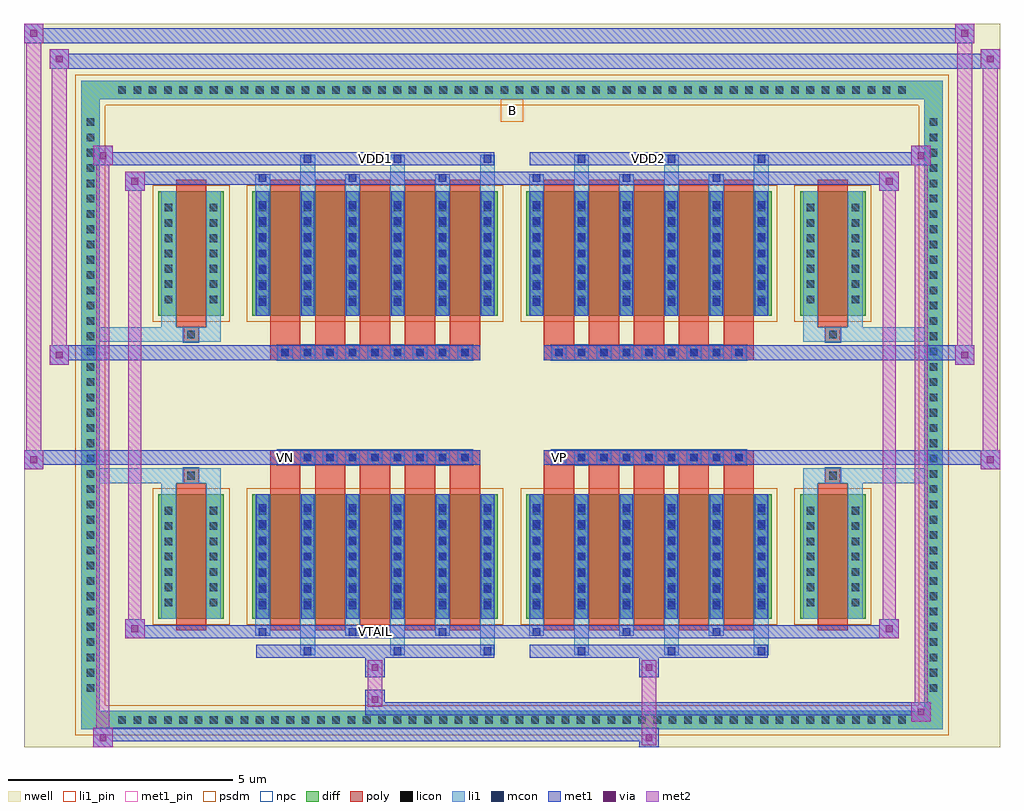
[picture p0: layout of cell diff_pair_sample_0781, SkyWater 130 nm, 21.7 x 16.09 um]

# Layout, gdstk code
import gdstk
lib = gdstk.Library(unit=1e-6, precision=5e-09)
def R(c, l, rs):  # rectangles x0, y0, x1, y1
    for r in rs: c.add(gdstk.rectangle(r[:2], r[2:], *l))
def A(c, l, x, y, w, h, nx, ny, dx, dy):  # array of equal rectangles
    R(c, l, [(x+i*dx, y+j*dy, x+i*dx+w, y+j*dy+h) for i in range(nx) for j in range(ny)])
def P(c, l, *ps):  # polygons
    for p in ps: c.add(gdstk.Polygon(p, *l))
nwell = (64, 20)
diff = (65, 20)
poly = (66, 20)
licon = (66, 44)
li1_pin = (67, 16)
li1 = (67, 20)
mcon = (67, 44)
met1_pin = (68, 16)
met1 = (68, 20)
via = (68, 44)
met2 = (69, 20)
psdm = (94, 20)
npc = (95, 20)

diff_pair_sample_0781 = lib.new_cell('diff_pair_sample_0781')
R(diff_pair_sample_0781, nwell, [(-10.85,-7.61,10.85,8.48), (-8.17,-5.8,-0.01,-0.8), (0.01,-5.8,8.17,-0.8), (-8.17,0.8,-0.01,5.8), (0.01,0.8,8.17,5.8)])
A(diff_pair_sample_0781, diff, -8.875, -7.21, 0.41, 0.41, 52, 2, 0.34, 14.01)
A(diff_pair_sample_0781, diff, -9.58, -6.495, 0.41, 0.41, 1, 38, 0, 0.34)
A(diff_pair_sample_0781, diff, 9.17, -6.495, 0.41, 0.41, 1, 38, 0, 0.34)
R(diff_pair_sample_0781, diff, [(-8.875,-7.21,8.875,-6.8), (-9.58,-6.495,-9.17,6.495), (9.17,-6.495,9.58,6.495), (-7.86,-4.755,-6.41,-1.985), (-5.77,-4.755,-0.32,-1.985), (0.32,-4.755,5.77,-1.985), (6.41,-4.755,7.86,-1.985), (-7.86,1.985,-6.41,4.755), (-5.77,1.985,-0.32,4.755), (0.32,1.985,5.77,4.755), (6.41,1.985,7.86,4.755), (-8.875,6.8,8.875,7.21)])
P(diff_pair_sample_0781, diff, [(9.58,7.21),(-9.58,7.21),(-9.58,-6.8),(-9.17,-6.8),(-9.17,6.8),(9.17,6.8),(9.17,-6.8),(-9.17,-6.8),(-9.58,-6.8),(-9.58,-7.21),(9.58,-7.21)])
A(diff_pair_sample_0781, poly, -5.38, -5.005, 0.67, 3.27, 5, 2, 1, 6.74)
A(diff_pair_sample_0781, poly, 0.71, -5.005, 0.67, 3.27, 5, 2, 1, 6.74)
A(diff_pair_sample_0781, poly, -5.38, -1.735, 0.67, 0.405, 5, 2, 1, 3.065)
A(diff_pair_sample_0781, poly, 0.71, -1.735, 0.67, 0.405, 5, 2, 1, 3.065)
A(diff_pair_sample_0781, poly, -5.21, -1.33, 0.33, 0.33, 9, 2, 0.5, 2.33)
A(diff_pair_sample_0781, poly, 0.88, -1.33, 0.33, 0.33, 9, 2, 0.5, 2.33)
R(diff_pair_sample_0781, poly, [(-7.47,-5.005,-6.8,-1.735), (6.8,-5.005,7.47,-1.735), (-7.3,-1.735,-6.97,-1.405), (-7.3,-1.735,-6.97,-1.405), (6.97,-1.735,7.3,-1.405), (6.97,-1.735,7.3,-1.405), (-5.38,-1.33,-0.71,-1), (0.71,-1.33,5.38,-1), (-5.38,1,-0.71,1.33), (0.71,1,5.38,1.33), (-7.3,1.405,-6.97,1.735), (-7.3,1.405,-6.97,1.735), (6.97,1.405,7.3,1.735), (6.97,1.405,7.3,1.735), (-7.47,1.735,-6.8,5.005), (6.8,1.735,7.47,5.005)])
A(diff_pair_sample_0781, licon, -8.755, -7.09, 0.17, 0.17, 52, 2, 0.34, 14.01)
A(diff_pair_sample_0781, licon, -9.46, -6.375, 0.17, 0.17, 1, 38, 0, 0.34)
A(diff_pair_sample_0781, licon, 9.29, -6.375, 0.17, 0.17, 1, 38, 0, 0.34)
A(diff_pair_sample_0781, licon, -7.72, -4.475, 0.17, 0.17, 1, 7, 0, 0.34)
A(diff_pair_sample_0781, licon, -6.72, -4.475, 0.17, 0.17, 1, 7, 0, 0.34)
A(diff_pair_sample_0781, licon, -5.63, -4.475, 0.17, 0.17, 6, 7, 1, 0.34)
A(diff_pair_sample_0781, licon, 0.46, -4.475, 0.17, 0.17, 6, 7, 1, 0.34)
A(diff_pair_sample_0781, licon, 6.55, -4.475, 0.17, 0.17, 1, 7, 0, 0.34)
A(diff_pair_sample_0781, licon, 7.55, -4.475, 0.17, 0.17, 1, 7, 0, 0.34)
A(diff_pair_sample_0781, licon, -5.13, -1.25, 0.17, 0.17, 9, 2, 0.5, 2.33)
A(diff_pair_sample_0781, licon, 0.96, -1.25, 0.17, 0.17, 9, 2, 0.5, 2.33)
A(diff_pair_sample_0781, licon, -7.72, 2.265, 0.17, 0.17, 1, 7, 0, 0.34)
A(diff_pair_sample_0781, licon, -6.72, 2.265, 0.17, 0.17, 1, 7, 0, 0.34)
A(diff_pair_sample_0781, licon, -5.63, 2.265, 0.17, 0.17, 6, 7, 1, 0.34)
A(diff_pair_sample_0781, licon, 0.46, 2.265, 0.17, 0.17, 6, 7, 1, 0.34)
A(diff_pair_sample_0781, licon, 6.55, 2.265, 0.17, 0.17, 1, 7, 0, 0.34)
A(diff_pair_sample_0781, licon, 7.55, 2.265, 0.17, 0.17, 1, 7, 0, 0.34)
R(diff_pair_sample_0781, licon, [(-7.22,-1.655,-7.05,-1.485), (7.05,-1.655,7.22,-1.485), (-7.22,1.485,-7.05,1.655), (7.05,1.485,7.22,1.655)])
R(diff_pair_sample_0781, li1_pin, [(-0.25,6.3,0.25,6.8)])
A(diff_pair_sample_0781, li1, -8.835, -7.17, 0.33, 0.33, 52, 2, 0.34, 14.01)
A(diff_pair_sample_0781, li1, -9.54, -6.455, 0.33, 0.33, 1, 38, 0, 0.34)
A(diff_pair_sample_0781, li1, 9.21, -6.455, 0.33, 0.33, 1, 38, 0, 0.34)
A(diff_pair_sample_0781, li1, -4.71, -5.56, 0.33, 0.805, 3, 2, 2, 10.315)
A(diff_pair_sample_0781, li1, -4.63, -5.56, 0.17, 0.17, 3, 2, 2, 10.95)
A(diff_pair_sample_0781, li1, 1.38, -5.56, 0.33, 0.805, 3, 2, 2, 10.315)
A(diff_pair_sample_0781, li1, 1.46, -5.56, 0.17, 0.17, 3, 2, 2, 10.95)
A(diff_pair_sample_0781, li1, -5.71, -5.13, 0.33, 0.375, 3, 2, 2, 9.885)
A(diff_pair_sample_0781, li1, -5.63, -5.13, 0.17, 0.17, 3, 2, 2, 10.09)
A(diff_pair_sample_0781, li1, 0.38, -5.13, 0.33, 0.375, 3, 2, 2, 9.885)
A(diff_pair_sample_0781, li1, 0.46, -5.13, 0.17, 0.17, 3, 2, 2, 10.09)
A(diff_pair_sample_0781, li1, -5.71, -4.755, 0.33, 2.77, 6, 2, 1, 6.74)
A(diff_pair_sample_0781, li1, 0.38, -4.755, 0.33, 2.77, 6, 2, 1, 6.74)
A(diff_pair_sample_0781, li1, -7.8, -4.555, 0.33, 0.33, 1, 7, 0, 0.34)
A(diff_pair_sample_0781, li1, -6.8, -4.555, 0.33, 0.33, 1, 7, 0, 0.34)
A(diff_pair_sample_0781, li1, -5.71, -4.555, 0.33, 0.33, 6, 7, 1, 0.34)
A(diff_pair_sample_0781, li1, 0.38, -4.555, 0.33, 0.33, 6, 7, 1, 0.34)
A(diff_pair_sample_0781, li1, 6.47, -4.555, 0.33, 0.33, 1, 7, 0, 0.34)
A(diff_pair_sample_0781, li1, 7.47, -4.555, 0.33, 0.33, 1, 7, 0, 0.34)
A(diff_pair_sample_0781, li1, -5.63, -4.535, 0.17, 0.17, 6, 7, 1, 0.36)
A(diff_pair_sample_0781, li1, -5.63, -4.535, 0.17, 2.33, 6, 2, 1, 6.74)
A(diff_pair_sample_0781, li1, 0.46, -4.535, 0.17, 0.17, 6, 7, 1, 0.36)
A(diff_pair_sample_0781, li1, 0.46, -4.535, 0.17, 2.33, 6, 2, 1, 6.74)
A(diff_pair_sample_0781, li1, -5.21, -1.33, 0.33, 0.33, 9, 2, 0.5, 2.33)
A(diff_pair_sample_0781, li1, 0.88, -1.33, 0.33, 0.33, 9, 2, 0.5, 2.33)
A(diff_pair_sample_0781, li1, -7.8, 2.185, 0.33, 0.33, 1, 7, 0, 0.34)
A(diff_pair_sample_0781, li1, -6.8, 2.185, 0.33, 0.33, 1, 7, 0, 0.34)
A(diff_pair_sample_0781, li1, -5.71, 2.185, 0.33, 0.33, 6, 7, 1, 0.34)
A(diff_pair_sample_0781, li1, 0.38, 2.185, 0.33, 0.33, 6, 7, 1, 0.34)
A(diff_pair_sample_0781, li1, 6.47, 2.185, 0.33, 0.33, 1, 7, 0, 0.34)
A(diff_pair_sample_0781, li1, 7.47, 2.185, 0.33, 0.33, 1, 7, 0, 0.34)
A(diff_pair_sample_0781, li1, -5.63, 2.205, 0.17, 0.17, 6, 7, 1, 0.36)
A(diff_pair_sample_0781, li1, 0.46, 2.205, 0.17, 0.17, 6, 7, 1, 0.36)
R(diff_pair_sample_0781, li1, [(-9.58,-7.21,-9.17,-6.8), (-9.58,-7.21,-9.17,-6.8), (-9.17,-7.21,9.17,-6.8), (9.17,-7.21,9.58,-6.8), (9.17,-7.21,9.58,-6.8), (-9.58,-6.8,-9.17,6.8), (9.17,-6.8,9.58,6.8), (-7.8,-4.755,-7.47,-1.985), (-6.8,-4.755,-6.47,-1.985), (6.47,-4.755,6.8,-1.985), (7.47,-4.755,7.8,-1.985), (-7.8,-1.985,-7.47,-1.405), (-6.8,-1.985,-6.47,-1.405), (6.47,-1.985,6.8,-1.405), (7.47,-1.985,7.8,-1.405), (-9.58,-1.735,-7.3,-1.405), (-7.8,-1.735,-7.3,-1.405), (-7.3,-1.735,-6.97,-1.405), (-6.97,-1.735,-6.47,-1.405), (6.47,-1.735,6.97,-1.405), (6.97,-1.735,7.3,-1.405), (6.97,-1.735,9.58,-1.405), (7.3,-1.735,7.8,-1.405), (-9.58,1.405,-7.3,1.735), (-7.8,1.405,-7.3,1.735), (-7.8,1.405,-7.47,1.985), (-7.3,1.405,-6.97,1.735), (-6.97,1.405,-6.47,1.735), (-6.8,1.405,-6.47,1.985), (6.47,1.405,6.97,1.735), (6.47,1.405,6.8,1.985), (6.97,1.405,7.3,1.735), (6.97,1.405,9.58,1.735), (7.3,1.405,7.8,1.735), (7.47,1.405,7.8,1.985), (-7.8,1.985,-7.47,4.755), (-6.8,1.985,-6.47,4.755), (6.47,1.985,6.8,4.755), (7.47,1.985,7.8,4.755), (-9.58,6.8,-9.17,7.21), (-9.58,6.8,-9.17,7.21), (-9.17,6.8,9.17,7.21), (9.17,6.8,9.58,7.21), (9.17,6.8,9.58,7.21)])
A(diff_pair_sample_0781, mcon, -4.63, -5.56, 0.17, 0.17, 3, 2, 2, 10.95)
A(diff_pair_sample_0781, mcon, 1.46, -5.56, 0.17, 0.17, 3, 2, 2, 10.95)
A(diff_pair_sample_0781, mcon, -5.63, -5.13, 0.17, 0.17, 3, 2, 2, 10.09)
A(diff_pair_sample_0781, mcon, 0.46, -5.13, 0.17, 0.17, 3, 2, 2, 10.09)
A(diff_pair_sample_0781, mcon, -5.63, -4.535, 0.17, 0.17, 6, 7, 1, 0.36)
A(diff_pair_sample_0781, mcon, 0.46, -4.535, 0.17, 0.17, 6, 7, 1, 0.36)
A(diff_pair_sample_0781, mcon, -5.13, -1.25, 0.17, 0.17, 9, 2, 0.5, 2.33)
A(diff_pair_sample_0781, mcon, 0.96, -1.25, 0.17, 0.17, 9, 2, 0.5, 2.33)
A(diff_pair_sample_0781, mcon, -5.63, 2.205, 0.17, 0.17, 6, 7, 1, 0.36)
A(diff_pair_sample_0781, mcon, 0.46, 2.205, 0.17, 0.17, 6, 7, 1, 0.36)
R(diff_pair_sample_0781, met1_pin, [(-3.18,-5.17,-2.91,-4.9), (-5.18,-1.29,-4.91,-1.02), (0.91,-1.29,1.18,-1.02), (-3.18,5.35,-2.91,5.62), (2.91,5.35,3.18,5.62)])
A(diff_pair_sample_0781, met1, -4.69, -5.62, 0.29, 0.29, 3, 2, 2, 10.95)
A(diff_pair_sample_0781, met1, 1.4, -5.62, 0.29, 0.29, 3, 2, 2, 10.95)
A(diff_pair_sample_0781, met1, -5.69, -5.19, 0.29, 0.29, 3, 2, 2, 10.09)
A(diff_pair_sample_0781, met1, 0.4, -5.19, 0.29, 0.29, 3, 2, 2, 10.09)
A(diff_pair_sample_0781, met1, -5.69, -4.755, 0.29, 2.77, 6, 2, 1, 6.74)
A(diff_pair_sample_0781, met1, 0.4, -4.755, 0.29, 2.77, 6, 2, 1, 6.74)
A(diff_pair_sample_0781, met1, -5.69, -4.595, 0.29, 0.29, 6, 7, 1, 0.36)
A(diff_pair_sample_0781, met1, 0.4, -4.595, 0.29, 0.29, 6, 7, 1, 0.36)
A(diff_pair_sample_0781, met1, -5.19, -1.31, 0.29, 0.29, 9, 2, 0.5, 2.33)
A(diff_pair_sample_0781, met1, 0.9, -1.31, 0.29, 0.29, 9, 2, 0.5, 2.33)
A(diff_pair_sample_0781, met1, -5.69, 2.145, 0.29, 0.29, 6, 7, 1, 0.36)
A(diff_pair_sample_0781, met1, 0.4, 2.145, 0.29, 0.29, 6, 7, 1, 0.36)
R(diff_pair_sample_0781, met1, [(-9.31,-7.61,-8.88,-7.18), (2.83,-7.61,3.26,-7.18), (-9.31,-7.47,3.26,-7.18), (8.88,-7.04,9.31,-6.61), (-3.26,-6.9,9.31,-6.61), (-3.26,-6.76,-2.83,-6.33), (-3.26,-6.05,-2.83,-5.62), (2.83,-6.05,3.26,-5.62), (-5.69,-5.62,-0.4,-5.33), (0.4,-5.62,5.69,-5.33), (-8.6,-5.19,-8.17,-4.76), (-8.6,-5.19,-5.69,-4.9), (-5.69,-5.19,-0.4,-4.9), (-0.4,-5.19,0.4,-4.9), (0.4,-5.19,5.69,-4.9), (5.69,-5.19,8.6,-4.9), (8.17,-5.19,8.6,-4.76), (-10.85,-1.43,-10.42,-1), (10.42,-1.43,10.85,-1), (-10.85,-1.33,-0.71,-1), (-5.38,-1.33,-0.71,-1), (0.71,-1.33,5.38,-1), (0.71,-1.33,10.85,-1), (-10.28,0.9,-9.85,1.33), (9.85,0.9,10.28,1.33), (-10.28,1,-5.38,1.33), (-5.38,1,-0.71,1.33), (0.71,1,5.38,1.33), (5.38,1,10.28,1.33), (-8.6,4.76,-8.17,5.19), (8.17,4.76,8.6,5.19), (-8.6,4.9,-5.69,5.19), (-5.69,4.9,-0.4,5.19), (-0.4,4.9,0.4,5.19), (0.4,4.9,5.69,5.19), (5.69,4.9,8.6,5.19), (-9.31,5.33,-8.88,5.76), (-9.31,5.33,-5.69,5.62), (-5.69,5.33,-0.4,5.62), (0.4,5.33,5.69,5.62), (5.69,5.33,9.31,5.62), (8.88,5.33,9.31,5.76), (-10.28,7.48,-9.85,7.91), (-10.28,7.48,-8.17,7.81), (-8.17,7.48,8.17,7.81), (8.17,7.48,10.85,7.81), (10.42,7.48,10.85,7.91), (-10.85,8.05,-10.42,8.48), (-10.85,8.05,-8.17,8.38), (-8.17,8.05,8.17,8.38), (8.17,8.05,10.28,8.38), (9.85,8.05,10.28,8.48)])
R(diff_pair_sample_0781, via, [(-9.17,-7.47,-9.02,-7.32), (2.97,-7.47,3.12,-7.32), (9.02,-6.9,9.17,-6.75), (-3.12,-6.62,-2.97,-6.47), (-3.12,-5.91,-2.97,-5.76), (2.97,-5.91,3.12,-5.76), (-8.46,-5.05,-8.31,-4.9), (8.31,-5.05,8.46,-4.9), (-10.71,-1.29,-10.56,-1.14), (10.56,-1.29,10.71,-1.14), (-10.14,1.04,-9.99,1.19), (9.99,1.04,10.14,1.19), (-8.46,4.9,-8.31,5.05), (8.31,4.9,8.46,5.05), (-9.17,5.47,-9.02,5.62), (9.02,5.47,9.17,5.62), (-10.14,7.62,-9.99,7.77), (10.56,7.62,10.71,7.77), (-10.71,8.19,-10.56,8.34), (9.99,8.19,10.14,8.34)])
R(diff_pair_sample_0781, met2, [(-9.31,-7.61,-8.88,-7.18), (-9.24,-7.61,-8.95,5.76), (-8.95,-7.61,-8.88,-7.18), (-9.26,-7.56,-8.93,-7.23), (2.88,-7.56,3.21,-7.23), (2.88,-7.23,3.21,-6), (8.88,-7.04,9.31,-6.61), (8.95,-7.04,9.24,5.76), (9.24,-7.04,9.31,-6.61), (8.93,-6.99,9.26,-6.66), (-3.21,-6.71,-2.88,-6.38), (-3.21,-6.38,-2.88,-6), (-3.21,-6,-2.88,-5.67), (2.88,-6,3.21,-5.67), (-8.6,-5.19,-8.17,-4.76), (-8.53,-5.19,-8.24,5.19), (-8.24,-5.19,-8.17,-4.76), (8.17,-5.19,8.6,-4.76), (8.24,-5.19,8.53,5.19), (8.53,-5.19,8.6,-4.76), (-8.55,-5.14,-8.22,-4.81), (8.22,-5.14,8.55,-4.81), (-10.85,-1.43,-10.42,-1), (-10.8,-1.43,-10.47,8.48), (-10.47,-1.43,-10.42,-1), (10.42,-1.43,10.85,-1), (10.47,-1.43,10.8,7.91), (10.8,-1.43,10.85,-1), (-10.8,-1.38,-10.47,-1.05), (10.47,-1.38,10.8,-1.05), (-10.28,0.9,-9.85,1.33), (-10.23,0.9,-9.9,7.91), (-9.9,0.9,-9.85,1.33), (9.85,0.9,10.28,1.33), (9.9,0.9,10.23,8.48), (10.23,0.9,10.28,1.33), (-10.23,0.95,-9.9,1.28), (9.9,0.95,10.23,1.28), (-8.6,4.76,-8.17,5.19), (-8.24,4.76,-8.17,5.19), (8.17,4.76,8.6,5.19), (8.53,4.76,8.6,5.19), (-8.55,4.81,-8.22,5.14), (8.22,4.81,8.55,5.14), (-9.31,5.33,-8.88,5.76), (-8.95,5.33,-8.88,5.76), (8.88,5.33,9.31,5.76), (9.24,5.33,9.31,5.76), (-9.26,5.38,-8.93,5.71), (8.93,5.38,9.26,5.71), (-10.28,7.48,-9.85,7.91), (-9.9,7.48,-9.85,7.91), (10.42,7.48,10.85,7.91), (10.8,7.48,10.85,7.91), (-10.23,7.53,-9.9,7.86), (10.47,7.53,10.8,7.86), (-10.85,8.05,-10.42,8.48), (-10.47,8.05,-10.42,8.48), (9.85,8.05,10.28,8.48), (10.23,8.05,10.28,8.48), (-10.8,8.1,-10.47,8.43), (9.9,8.1,10.23,8.43)])
R(diff_pair_sample_0781, psdm, [(-7.99,-4.885,-6.28,-1.855), (-5.9,-4.885,-0.19,-1.855), (0.19,-4.885,5.9,-1.855), (6.28,-4.885,7.99,-1.855), (-7.99,1.855,-6.28,4.885), (-5.9,1.855,-0.19,4.885), (0.19,1.855,5.9,4.885), (6.28,1.855,7.99,4.885)])
P(diff_pair_sample_0781, psdm, [(9.71,7.34),(-9.71,7.34),(-9.71,-6.67),(-9.04,-6.67),(-9.04,6.67),(9.04,6.67),(9.04,-6.67),(-9.04,-6.67),(-9.71,-6.67),(-9.71,-7.34),(9.71,-7.34)])
A(diff_pair_sample_0781, npc, -5.23, -1.35, 0.37, 0.37, 9, 2, 0.5, 2.33)
A(diff_pair_sample_0781, npc, 0.86, -1.35, 0.37, 0.37, 9, 2, 0.5, 2.33)
R(diff_pair_sample_0781, npc, [(-7.32,-1.755,-6.95,-1.385), (6.95,-1.755,7.32,-1.385), (-5.23,-1.35,-4.36,-0.98), (-5.23,-1.35,-4.36,-0.98), (-4.73,-1.35,-3.86,-0.98), (-4.73,-1.35,-3.86,-0.98), (-4.23,-1.35,-3.36,-0.98), (-4.23,-1.35,-3.36,-0.98), (-3.73,-1.35,-2.86,-0.98), (-3.73,-1.35,-2.86,-0.98), (-3.23,-1.35,-2.36,-0.98), (-3.23,-1.35,-2.36,-0.98), (-2.73,-1.35,-1.86,-0.98), (-2.73,-1.35,-1.86,-0.98), (-2.23,-1.35,-1.36,-0.98), (-2.23,-1.35,-1.36,-0.98), (-1.73,-1.35,-0.86,-0.98), (-1.73,-1.35,-0.86,-0.98), (0.86,-1.35,1.73,-0.98), (0.86,-1.35,1.73,-0.98), (1.36,-1.35,2.23,-0.98), (1.36,-1.35,2.23,-0.98), (1.86,-1.35,2.73,-0.98), (1.86,-1.35,2.73,-0.98), (2.36,-1.35,3.23,-0.98), (2.36,-1.35,3.23,-0.98), (2.86,-1.35,3.73,-0.98), (2.86,-1.35,3.73,-0.98), (3.36,-1.35,4.23,-0.98), (3.36,-1.35,4.23,-0.98), (3.86,-1.35,4.73,-0.98), (3.86,-1.35,4.73,-0.98), (4.36,-1.35,5.23,-0.98), (4.36,-1.35,5.23,-0.98), (-5.23,0.98,-4.36,1.35), (-5.23,0.98,-4.36,1.35), (-4.73,0.98,-3.86,1.35), (-4.73,0.98,-3.86,1.35), (-4.23,0.98,-3.36,1.35), (-4.23,0.98,-3.36,1.35), (-3.73,0.98,-2.86,1.35), (-3.73,0.98,-2.86,1.35), (-3.23,0.98,-2.36,1.35), (-3.23,0.98,-2.36,1.35), (-2.73,0.98,-1.86,1.35), (-2.73,0.98,-1.86,1.35), (-2.23,0.98,-1.36,1.35), (-2.23,0.98,-1.36,1.35), (-1.73,0.98,-0.86,1.35), (-1.73,0.98,-0.86,1.35), (0.86,0.98,1.73,1.35), (0.86,0.98,1.73,1.35), (1.36,0.98,2.23,1.35), (1.36,0.98,2.23,1.35), (1.86,0.98,2.73,1.35), (1.86,0.98,2.73,1.35), (2.36,0.98,3.23,1.35), (2.36,0.98,3.23,1.35), (2.86,0.98,3.73,1.35), (2.86,0.98,3.73,1.35), (3.36,0.98,4.23,1.35), (3.36,0.98,4.23,1.35), (3.86,0.98,4.73,1.35), (3.86,0.98,4.73,1.35), (4.36,0.98,5.23,1.35), (4.36,0.98,5.23,1.35), (-7.32,1.385,-6.95,1.755), (6.95,1.385,7.32,1.755)])
diff_pair_sample_0781.add(gdstk.Label('VTAIL', (-3.045,-5.035), layer=68, texttype=5))
diff_pair_sample_0781.add(gdstk.Label('VN', (-5.045,-1.155), layer=68, texttype=5))
diff_pair_sample_0781.add(gdstk.Label('VP', (1.045,-1.155), layer=68, texttype=5))
diff_pair_sample_0781.add(gdstk.Label('B', (0,6.55), layer=67, texttype=5))
diff_pair_sample_0781.add(gdstk.Label('VDD2', (3.045,5.485), layer=68, texttype=5))
diff_pair_sample_0781.add(gdstk.Label('VDD1', (-3.045,5.485), layer=68, texttype=5))

lib.write_gds('diff_pair_sample_0781.gds')
